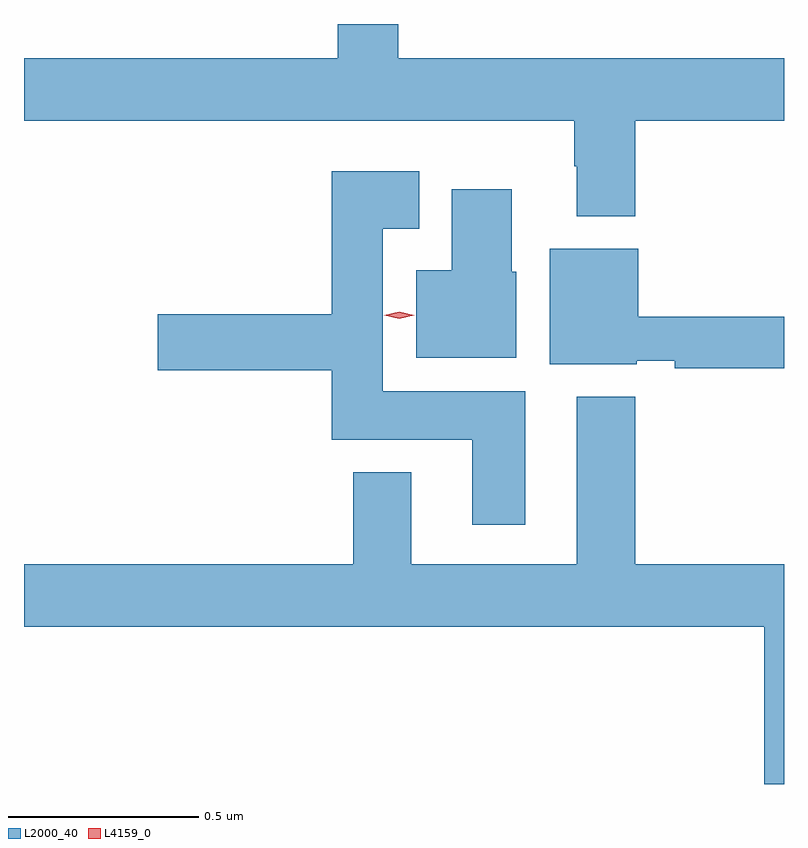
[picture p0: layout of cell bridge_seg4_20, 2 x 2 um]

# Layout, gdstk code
import gdstk
lib = gdstk.Library(unit=1e-6, precision=1e-09)
def P(c, l, *ps):  # polygons
    for p in ps: c.add(gdstk.Polygon(p, *l))
L2000_40 = (2000, 40)
L4159_0 = (4159, 0)

bridge_seg4_20 = lib.new_cell('bridge_seg4_20')
P(bridge_seg4_20, L2000_40, [(1015.076,768.848),(1015.468,768.848),(1015.468,769.012),(1014.453,769.012),(1014.453,769.102),(1014.293,769.102),(1014.293,769.012),(1013.468,769.012),(1013.468,768.848),(1014.916,768.848),(1014.916,768.728),(1014.923,768.728),(1014.923,768.596),(1015.076,768.596)],
  [(1014.787,768.136),(1014.412,768.136),(1014.412,768.563),(1014.508,768.563),(1014.508,768.715),(1014.278,768.715),(1014.278,768.338),(1013.82,768.338),(1013.82,768.191),(1014.278,768.191),(1014.278,768.008),(1014.647,768.008),(1014.647,767.784),(1014.787,767.784)],
  [(1014.763,768.45),(1014.751,768.45),(1014.751,768.667),(1014.593,768.667),(1014.593,768.454),(1014.5,768.454),(1014.5,768.224),(1014.763,768.224)],
  [(1015.468,768.332),(1015.084,768.332),(1015.084,768.511),(1014.851,768.511),(1014.851,768.206),(1015.08,768.206),(1015.08,768.216),(1015.18,768.216),(1015.18,768.196),(1015.468,768.196)],
  [(1015.468,767.68),(1015.076,767.68),(1015.076,768.121),(1014.923,768.121),(1014.923,767.68),(1014.487,767.68),(1014.487,767.923),(1014.335,767.923),(1014.335,767.68),(1013.468,767.68),(1013.468,767.516),(1015.416,767.516),(1015.416,767.102),(1015.468,767.102)])
P(bridge_seg4_20, L4159_0, [(1014.456,768.326),(1014.416,768.335),(1014.416,768.335),(1014.416,768.335),(1014.455,768.345),(1014.495,768.336),(1014.495,768.336),(1014.495,768.335)])

lib.write_gds('bridge_seg4_20.gds')
